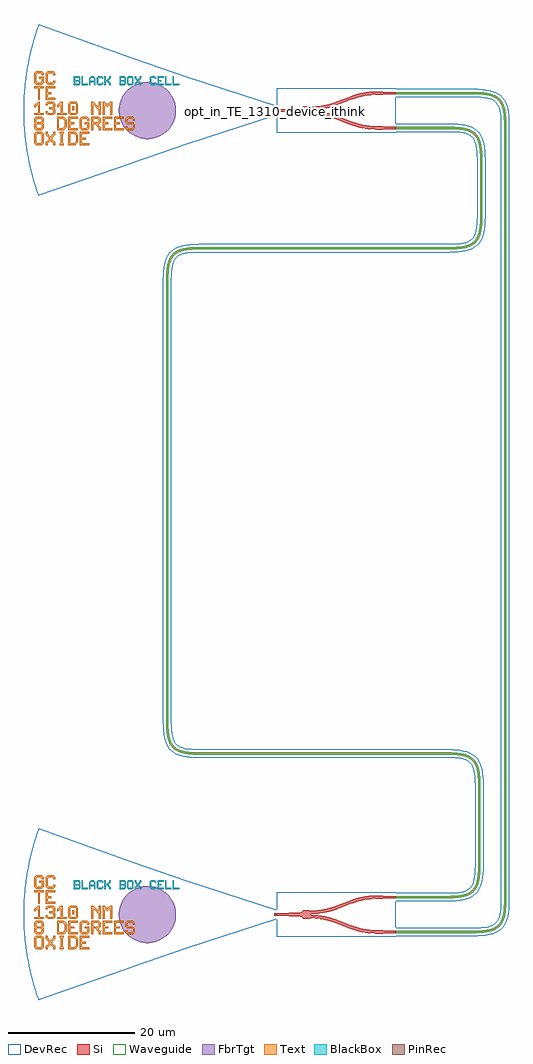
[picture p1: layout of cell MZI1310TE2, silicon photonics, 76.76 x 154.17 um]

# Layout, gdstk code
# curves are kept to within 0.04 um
import gdstk
lib = gdstk.Library(unit=1e-6, precision=1e-09)
def R(c, l, rs):  # rectangles x0, y0, x1, y1
    for r in rs: c.add(gdstk.rectangle(r[:2], r[2:], *l))
def P(c, l, *ps):  # polygons
    for p in ps: c.add(gdstk.Polygon(p, *l))
Si = (1, 0)
PinRec = (1, 10)
Waveguide = (1, 99)
Text = (10, 0)
DevRec = (68, 0)
FbrTgt = (81, 0)
BlackBox = (998, 0)

ebeam_y_1310 = lib.new_cell('ebeam_y_1310')
R(ebeam_y_1310, Si, [(6.5,-3,7.4,-2.5), (-7.4,-0.25,-6,0.25), (6.5,2.5,7.4,3)])
P(ebeam_y_1310, Si, [(6.458,-3),(6.237,-2.997),(6.237,-2.497),(6.5,-2.5),(6.5,-3)],
  [(5.033,-2.908),(3.59,-2.634),(2.265,-2.21),(2.445,-1.744),(3.731,-2.154),(5.033,-2.404)],
  [(6.233,-2.997),(5.033,-2.908),(5.033,-2.404),(6.237,-2.497)],
  [(2.265,-2.21),(0.055,-1.356),(0.235,-0.89),(2.445,-1.744)],
  [(-0.762,-1.076),(-2.334,-0.724),(-4,-0.6),(-4,-0.1),(-2.381,-0.212),(-0.762,-0.555)],
  [(0.055,-1.356),(-0.762,-1.076),(-0.762,-0.555),(0.235,-0.89)],
  [(6.237,2.497),(6.237,2.997),(6.5,3),(6.5,2.5)],
  [(2.445,1.744),(2.267,2.211),(3.59,2.634),(5.033,2.908),(5.033,2.404),(3.731,2.154)],
  [(5.033,2.404),(5.033,2.908),(6.237,2.997),(6.237,2.497)],
  [(0.235,0.89),(0.055,1.356),(2.265,2.21),(2.445,1.744)],
  [(-4,0.1),(-4,0.6),(-2.334,0.724),(-0.762,1.076),(-0.762,0.555),(-2.381,0.212)],
  [(-0.762,0.555),(-0.762,1.076),(0.055,1.356),(0.235,0.89)],
  [(-5.122,-0.662),(-5.442,-0.374),(-5.808,-0.255),(-6,-0.25),(-6,0.25),(-5.817,0.253),(-5.442,0.374),(-5.122,0.662)],
  [(-4.957,-0.703),(-5.122,-0.662),(-5.122,0.662),(-4.538,0.703),(-4,0.6),(-4,-0.6),(-4.509,-0.701)],
  [(-7.4,-0.25),(-9.4,-0.175),(-9.4,0.175),(-7.4,0.25)],
  [(7.4,2.5),(7.4,3),(9.4,2.925),(9.4,2.575)],
  [(7.4,-3),(7.4,-2.5),(9.4,-2.575),(9.4,-2.925)])
R(ebeam_y_1310, DevRec, [(-9.4,-3.5,9.4,3.5)])
ebeam_y_1310.add(gdstk.FlexPath([(9.35,2.75),(9.45,2.75)], 0.35, ends="flush", simple_path=True, layer=1, datatype=10))  # PinRec
ebeam_y_1310.add(gdstk.FlexPath([(9.35,-2.75),(9.45,-2.75)], 0.35, ends="flush", simple_path=True, layer=1, datatype=10))  # PinRec
ebeam_y_1310.add(gdstk.FlexPath([(-9.35,0),(-9.45,0)], 0.35, ends="flush", simple_path=True, layer=1, datatype=10))  # PinRec
ebeam_y_1310.add(gdstk.Label('Ref: Y Zhang, Opt. Express, 21/1, 2013, for 1550 nm\nWorks reasonably well at 1310 nm', (-9.25,-1), layer=10, texttype=0))
ebeam_y_1310.add(gdstk.Label('opt2', (9.4,2.75), layer=1, texttype=10))
ebeam_y_1310.add(gdstk.Label('opt3', (9.4,-2.75), layer=1, texttype=10))
ebeam_y_1310.add(gdstk.Label('opt1', (-9.4,0), layer=1, texttype=10))
ebeam_y_1310.add(gdstk.Label('Lumerical_INTERCONNECT_library=Design kits/ebeam', (-6.86,-2.19), layer=68, texttype=0))
ebeam_y_1310.add(gdstk.Label('Component=ebeam_y_1310', (-9,1.5), layer=68, texttype=0))

text_10 = lib.new_cell('TEXT$10')
P(text_10, BlackBox, [(0,0),(0,1.4),(0.8,1.4),(1,1.2),(0.2,1.2),(0.2,0.8),(0.7,0.8),(0.8,0.9),(0.8,1.1),(0.7,1.2),(1,1.2),(1,0.8),(0.9,0.7),(1,0.6),(0.2,0.6),(0.2,0.2),(0.7,0.2),(0.8,0.3),(0.8,0.5),(0.7,0.6),(1,0.6),(1,0.2),(0.8,0)],
  [(1.2,0),(1.2,1.4),(1.4,1.4),(1.4,0.2),(2.2,0.2),(2.2,0)],
  [(2.4,0),(2.4,1.1),(2.7,1.4),(3.1,1.4),(3.3,1.2),(2.8,1.2),(2.6,1),(2.6,0.7),(3.2,0.7),(3.2,1),(3,1.2),(3.3,1.2),(3.4,1.1),(3.4,0),(3.2,0),(3.2,0.5),(2.6,0.5),(2.6,0)],
  [(3.8,0),(3.6,0.2),(3.6,1.2),(3.8,1.4),(4.4,1.4),(4.6,1.2),(4.6,1),(4.4,1),(4.4,1.1),(4.3,1.2),(3.9,1.2),(3.8,1.1),(3.8,0.3),(3.9,0.2),(4.3,0.2),(4.4,0.3),(4.4,0.4),(4.6,0.4),(4.6,0.2),(4.4,0)],
  [(4.8,0),(4.8,1.4),(5,1.4),(5,0.8),(5.2,0.8),(5.6,1.2),(5.6,1.4),(5.8,1.4),(5.8,1.1),(5.4,0.7),(5.8,0.3),(5.8,0),(5.6,0),(5.6,0.2),(5.2,0.6),(5,0.6),(5,0)],
  [(7.2,0),(7.2,1.4),(8,1.4),(8.2,1.2),(7.4,1.2),(7.4,0.8),(7.9,0.8),(8,0.9),(8,1.1),(7.9,1.2),(8.2,1.2),(8.2,0.8),(8.1,0.7),(8.2,0.6),(7.4,0.6),(7.4,0.2),(7.9,0.2),(8,0.3),(8,0.5),(7.9,0.6),(8.2,0.6),(8.2,0.2),(8,0)],
  [(8.6,0),(8.4,0.2),(8.4,1.2),(8.6,1.4),(9.2,1.4),(9.4,1.2),(9.4,0.7),(9.2,0.7),(9.2,1.1),(9.1,1.2),(8.7,1.2),(8.6,1.1),(8.6,0.3),(8.7,0.2),(9.1,0.2),(9.2,0.3),(9.2,0.7),(9.4,0.7),(9.4,0.2),(9.2,0)],
  [(9.6,0),(9.6,0.3),(9.9,0.6),(9.9,0.8),(9.6,1.1),(9.6,1.4),(9.8,1.4),(9.8,1.2),(10.1,0.9),(10.4,1.2),(10.4,1.4),(10.6,1.4),(10.6,1.1),(10.3,0.8),(10.3,0.6),(10.6,0.3),(10.6,0),(10.4,0),(10.4,0.2),(10.1,0.5),(9.8,0.2),(9.8,0)],
  [(12.2,0),(12,0.2),(12,1.2),(12.2,1.4),(12.8,1.4),(13,1.2),(13,1),(12.8,1),(12.8,1.1),(12.7,1.2),(12.3,1.2),(12.2,1.1),(12.2,0.3),(12.3,0.2),(12.7,0.2),(12.8,0.3),(12.8,0.4),(13,0.4),(13,0.2),(12.8,0)],
  [(13.2,0),(13.2,1.4),(14.2,1.4),(14.2,1.2),(13.4,1.2),(13.4,0.8),(13.8,0.8),(13.8,0.6),(13.4,0.6),(13.4,0.2),(14.2,0.2),(14.2,0)],
  [(14.4,0),(14.4,1.4),(14.6,1.4),(14.6,0.2),(15.4,0.2),(15.4,0)],
  [(15.6,0),(15.6,1.4),(15.8,1.4),(15.8,0.2),(16.6,0.2),(16.6,0)])

gc_te_1310_8degoxide_bb = lib.new_cell('GC_TE_1310_8degOxide_BB')
R(gc_te_1310_8degoxide_bb, Si, [(-0.4,-0.175,0,0.175)])
R(gc_te_1310_8degoxide_bb, Text, [(-32.27,0.06,-31.97,0.66)])
P(gc_te_1310_8degoxide_bb, Text, [(-37.67,1.71),(-37.67,3.51),(-38.27,3.51),(-38.27,3.81),(-36.77,3.81),(-36.77,3.51),(-37.37,3.51),(-37.37,1.71)],
  [(-37.97,-5.49),(-38.27,-5.19),(-38.27,-3.69),(-37.97,-3.39),(-37.07,-3.39),(-36.77,-3.69),(-36.77,-4.44),(-37.07,-4.44),(-37.07,-3.84),(-37.22,-3.69),(-37.82,-3.69),(-37.97,-3.84),(-37.97,-5.04),(-37.82,-5.19),(-37.22,-5.19),(-37.07,-5.04),(-37.07,-4.44),(-36.77,-4.44),(-36.77,-5.19),(-37.07,-5.49)],
  [(-31.07,-5.49),(-31.07,-3.39),(-29.57,-3.39),(-29.57,-3.69),(-30.77,-3.69),(-30.77,-4.29),(-30.17,-4.29),(-30.17,-4.59),(-30.77,-4.59),(-30.77,-5.19),(-29.57,-5.19),(-29.57,-5.49)],
  [(-32.87,-3.09),(-32.87,-0.99),(-31.37,-0.99),(-31.37,-1.29),(-32.57,-1.29),(-32.57,-1.89),(-31.97,-1.89),(-31.97,-2.19),(-32.57,-2.19),(-32.57,-2.79),(-31.37,-2.79),(-31.37,-3.09)],
  [(-27.47,-3.09),(-27.47,-0.99),(-25.97,-0.99),(-25.97,-1.29),(-27.17,-1.29),(-27.17,-1.89),(-26.57,-1.89),(-26.57,-2.19),(-27.17,-2.19),(-27.17,-2.79),(-25.97,-2.79),(-25.97,-3.09)],
  [(-25.67,-3.09),(-25.67,-0.99),(-24.17,-0.99),(-24.17,-1.29),(-25.37,-1.29),(-25.37,-1.89),(-24.77,-1.89),(-24.77,-2.19),(-25.37,-2.19),(-25.37,-2.79),(-24.17,-2.79),(-24.17,-3.09)],
  [(-36.47,1.71),(-36.47,3.81),(-34.97,3.81),(-34.97,3.51),(-36.17,3.51),(-36.17,2.91),(-35.57,2.91),(-35.57,2.61),(-36.17,2.61),(-36.17,2.01),(-34.97,2.01),(-34.97,1.71)],
  [(-27.47,-0.69),(-27.47,1.41),(-27.17,1.41),(-26.87,1.11),(-26.57,1.11),(-26.27,1.41),(-25.97,1.41),(-25.97,-0.69),(-26.27,-0.69),(-26.27,0.81),(-26.42,0.81),(-26.72,0.51),(-27.02,0.81),(-27.17,0.81),(-27.17,-0.69)],
  [(-29.27,-0.69),(-29.27,1.41),(-28.97,1.41),(-28.22,0.66),(-28.07,0.66),(-28.07,1.41),(-27.77,1.41),(-27.77,-0.69),(-28.07,-0.69),(-28.07,0.06),(-28.82,0.81),(-28.97,0.81),(-28.97,-0.69)],
  [(-34.22,-5.49),(-34.22,-5.19),(-34.07,-5.19),(-34.07,-3.69),(-34.22,-3.69),(-34.22,-3.39),(-33.62,-3.39),(-33.62,-3.69),(-33.77,-3.69),(-33.77,-5.19),(-33.62,-5.19),(-33.62,-5.49)],
  [(-36.17,-0.69),(-36.47,-0.39),(-36.47,-0.09),(-36.17,-0.09),(-36.17,-0.24),(-36.02,-0.39),(-35.42,-0.39),(-35.27,-0.24),(-35.27,0.06),(-35.42,0.21),(-35.87,0.21),(-35.87,0.51),(-35.42,0.51),(-35.27,0.66),(-35.27,0.96),(-35.42,1.11),(-36.02,1.11),(-36.17,0.96),(-36.17,0.81),(-36.47,0.81),(-36.47,1.11),(-36.17,1.41),(-35.27,1.41),(-34.97,1.11),(-34.97,0.51),(-35.12,0.36),(-34.97,0.21),(-34.97,-0.39),(-35.27,-0.69)],
  [(-29.27,-3.09),(-29.27,-0.99),(-28.07,-0.99),(-27.77,-1.29),(-28.97,-1.29),(-28.97,-1.89),(-28.22,-1.89),(-28.07,-1.74),(-28.07,-1.44),(-28.22,-1.29),(-27.77,-1.29),(-27.77,-1.89),(-28.07,-2.19),(-28.07,-2.34),(-27.77,-2.64),(-27.77,-3.09),(-28.07,-3.09),(-28.07,-2.79),(-28.67,-2.19),(-28.97,-2.19),(-28.97,-3.09)],
  [(-30.77,-3.09),(-31.07,-2.79),(-31.07,-1.29),(-30.77,-0.99),(-29.87,-0.99),(-29.57,-1.29),(-29.57,-1.59),(-29.87,-1.59),(-29.87,-1.44),(-30.02,-1.29),(-30.62,-1.29),(-30.77,-1.44),(-30.77,-2.64),(-30.62,-2.79),(-30.02,-2.79),(-29.87,-2.64),(-29.87,-2.19),(-30.32,-2.19),(-30.32,-1.89),(-29.57,-1.89),(-29.57,-2.79),(-29.87,-3.09)],
  [(-37.97,4.11),(-38.27,4.41),(-38.27,5.91),(-37.97,6.21),(-37.07,6.21),(-36.77,5.91),(-36.77,5.61),(-37.07,5.61),(-37.07,5.76),(-37.22,5.91),(-37.82,5.91),(-37.97,5.76),(-37.97,4.56),(-37.82,4.41),(-37.22,4.41),(-37.07,4.56),(-37.07,5.01),(-37.52,5.01),(-37.52,5.31),(-36.77,5.31),(-36.77,4.41),(-37.07,4.11)],
  [(-32.57,-0.69),(-32.87,-0.39),(-32.87,1.11),(-32.57,1.41),(-31.67,1.41),(-31.37,1.11),(-32.42,1.11),(-32.57,0.96),(-32.57,-0.24),(-32.42,-0.39),(-31.82,-0.39),(-31.67,-0.24),(-31.67,0.96),(-31.82,1.11),(-31.37,1.11),(-31.37,-0.39),(-31.67,-0.69)],
  [(-32.87,-5.49),(-32.87,-3.39),(-31.82,-3.39),(-31.52,-3.69),(-32.57,-3.69),(-32.57,-5.19),(-31.97,-5.19),(-31.67,-4.89),(-31.67,-3.99),(-31.97,-3.69),(-31.52,-3.69),(-31.37,-3.84),(-31.37,-5.04),(-31.82,-5.49)],
  [(-34.67,-3.09),(-34.67,-0.99),(-33.62,-0.99),(-33.32,-1.29),(-34.37,-1.29),(-34.37,-2.79),(-33.77,-2.79),(-33.47,-2.49),(-33.47,-1.59),(-33.77,-1.29),(-33.32,-1.29),(-33.17,-1.44),(-33.17,-2.64),(-33.62,-3.09)],
  [(-23.57,-3.09),(-23.87,-2.79),(-23.87,-2.49),(-23.57,-2.49),(-23.57,-2.64),(-23.42,-2.79),(-22.82,-2.79),(-22.67,-2.64),(-22.67,-2.34),(-22.82,-2.19),(-23.57,-2.19),(-23.87,-1.89),(-23.87,-1.29),(-23.57,-0.99),(-22.67,-0.99),(-22.37,-1.29),(-22.37,-1.59),(-22.67,-1.59),(-22.67,-1.44),(-22.82,-1.29),(-23.42,-1.29),(-23.57,-1.44),(-23.57,-1.74),(-23.42,-1.89),(-22.67,-1.89),(-22.37,-2.19),(-22.37,-2.79),(-22.67,-3.09)],
  [(-37.97,-3.09),(-38.27,-2.79),(-38.27,-2.19),(-38.12,-2.04),(-38.27,-1.89),(-38.27,-1.29),(-37.97,-0.99),(-37.07,-0.99),(-36.77,-1.29),(-37.82,-1.29),(-37.97,-1.44),(-37.97,-1.74),(-37.82,-1.89),(-37.22,-1.89),(-37.07,-1.74),(-37.07,-1.44),(-37.22,-1.29),(-36.77,-1.29),(-36.77,-1.89),(-36.92,-2.04),(-36.77,-2.19),(-37.82,-2.19),(-37.97,-2.34),(-37.97,-2.64),(-37.82,-2.79),(-37.22,-2.79),(-37.07,-2.64),(-37.07,-2.34),(-37.22,-2.19),(-36.77,-2.19),(-36.77,-2.79),(-37.07,-3.09)],
  [(-38.27,-0.69),(-38.27,-0.39),(-37.67,-0.39),(-37.67,0.81),(-37.82,0.81),(-38.12,0.51),(-38.27,0.51),(-38.27,0.81),(-37.67,1.41),(-37.37,1.41),(-37.37,-0.39),(-36.77,-0.39),(-36.77,-0.69)],
  [(-34.67,-0.69),(-34.67,-0.39),(-34.07,-0.39),(-34.07,0.81),(-34.22,0.81),(-34.52,0.51),(-34.67,0.51),(-34.67,0.81),(-34.07,1.41),(-33.77,1.41),(-33.77,-0.39),(-33.17,-0.39),(-33.17,-0.69)],
  [(-36.47,-5.49),(-36.47,-5.04),(-36.02,-4.59),(-36.02,-4.29),(-36.47,-3.84),(-36.47,-3.39),(-36.17,-3.39),(-36.17,-3.69),(-35.72,-4.14),(-35.27,-3.69),(-35.27,-3.39),(-34.97,-3.39),(-34.97,-3.84),(-35.42,-4.29),(-35.42,-4.59),(-34.97,-5.04),(-34.97,-5.49),(-35.27,-5.49),(-35.27,-5.19),(-35.72,-4.74),(-36.17,-5.19),(-36.17,-5.49)],
  [(-36.17,4.11),(-36.47,4.41),(-36.47,5.91),(-36.17,6.21),(-35.27,6.21),(-34.97,5.91),(-34.97,5.61),(-35.27,5.61),(-35.27,5.76),(-35.42,5.91),(-36.02,5.91),(-36.17,5.76),(-36.17,4.56),(-36.02,4.41),(-35.42,4.41),(-35.27,4.56),(-35.27,4.71),(-34.97,4.71),(-34.97,4.41),(-35.27,4.11)])
P(gc_te_1310_8degoxide_bb, DevRec, [(-37.607,-13.5),(-38.627,-10.245),(-39.378,-6.832),(-39.647,-5.058),(-39.835,-3.274),(-39.969,0.224),(-39.812,3.541),(-39.331,7.097),(-38.557,10.505),(-37.546,13.669),(-22.8,8.353),(-14.109,5.36),(0,0.75),(0,-0.75),(-14.109,-5.36)])
P(gc_te_1310_8degoxide_bb, FbrTgt, [(-20.621,-4.5),(-21.495,-4.37),(-22.326,-4.073),(-23.084,-3.619),(-23.738,-3.026),(-24.264,-2.316),(-24.642,-1.518),(-24.857,-0.661),(-24.9,0.221),(-24.77,1.095),(-24.473,1.926),(-24.019,2.684),(-23.426,3.338),(-22.716,3.864),(-21.918,4.242),(-21.061,4.457),(-20.179,4.5),(-19.305,4.37),(-18.474,4.073),(-17.716,3.619),(-17.062,3.026),(-16.536,2.316),(-16.158,1.518),(-15.943,0.661),(-15.9,-0.221),(-16.03,-1.095),(-16.327,-1.926),(-16.781,-2.684),(-17.374,-3.338),(-18.084,-3.864),(-18.882,-4.242),(-19.739,-4.457)])
gc_te_1310_8degoxide_bb.add(gdstk.FlexPath([(-0.01,0),(0.01,0)], 0.35, ends="flush", simple_path=True, layer=1, datatype=10))  # PinRec
gc_te_1310_8degoxide_bb.add(gdstk.Reference(text_10, (-32,4)))
gc_te_1310_8degoxide_bb.add(gdstk.Label('opt1', (0,0), layer=1, texttype=10))
gc_te_1310_8degoxide_bb.add(gdstk.Label('Lumerical_INTERCONNECT_library=Design kits/ebeam', (-29,-7), layer=68, texttype=0))
gc_te_1310_8degoxide_bb.add(gdstk.Label('Component=GC_TE_1310_8degOxide_BB', (-28,-5), layer=68, texttype=0))

waveguide_4 = lib.new_cell('Waveguide$4')
P(waveguide_4, Si, [(5.07,-3.105),(5.07,-2.755),(17.608,-2.753),(18.783,-2.701),(19.748,-2.557),(20.28,-2.405),(20.73,-2.205),(21.105,-1.953),(21.414,-1.644),(21.666,-1.269),(21.866,-0.819),(22.018,-0.287),(22.144,0.503),(22.215,2.07),(22.215,124.57),(22.123,126.308),(22.017,126.928),(21.82,127.58),(21.606,128.01),(21.341,128.367),(20.924,128.727),(20.514,128.952),(19.447,129.257),(18.601,129.356),(17.607,129.394),(5.07,129.395),(5.07,129.745),(17.611,129.744),(18.995,129.672),(19.974,129.504),(20.656,129.272),(21.225,128.943),(21.683,128.507),(22.033,127.96),(22.323,127.155),(22.471,126.352),(22.555,125.216),(22.565,2.07),(22.492,0.465),(22.36,-0.363),(22.196,-0.937),(21.972,-1.437),(21.684,-1.866),(21.327,-2.223),(20.898,-2.511),(20.398,-2.735),(19.668,-2.931),(18.628,-3.065),(17.612,-3.103)])
P(waveguide_4, Waveguide, [(5.07,-3.105),(5.07,-2.755),(17.608,-2.753),(18.783,-2.701),(19.748,-2.557),(20.28,-2.405),(20.73,-2.205),(21.105,-1.953),(21.414,-1.644),(21.666,-1.269),(21.866,-0.819),(22.018,-0.287),(22.144,0.503),(22.215,2.07),(22.215,124.57),(22.123,126.308),(22.017,126.928),(21.82,127.58),(21.606,128.01),(21.341,128.367),(20.924,128.727),(20.514,128.952),(19.447,129.257),(18.601,129.356),(17.607,129.394),(5.07,129.395),(5.07,129.745),(17.611,129.744),(18.995,129.672),(19.974,129.504),(20.656,129.272),(21.225,128.943),(21.683,128.507),(22.033,127.96),(22.323,127.155),(22.471,126.352),(22.555,125.216),(22.565,2.07),(22.492,0.465),(22.36,-0.363),(22.196,-0.937),(21.972,-1.437),(21.684,-1.866),(21.327,-2.223),(20.898,-2.511),(20.398,-2.735),(19.668,-2.931),(18.628,-3.065),(17.612,-3.103)])
P(waveguide_4, DevRec, [(5.07,-3.605),(5.07,-2.255),(18.042,-2.244),(19.146,-2.156),(19.989,-1.975),(20.588,-1.708),(20.815,-1.544),(21.169,-1.127),(21.436,-0.528),(21.538,-0.138),(21.673,0.834),(21.715,2.07),(21.715,124.57),(21.616,126.326),(21.435,127.169),(21.312,127.497),(21.004,127.995),(20.814,128.185),(20.316,128.493),(19.145,128.797),(17.389,128.895),(5.07,128.895),(5.07,130.245),(17.391,130.245),(18.734,130.199),(19.884,130.038),(20.868,129.725),(21.69,129.211),(22.03,128.871),(22.314,128.482),(22.723,127.575),(22.954,126.512),(23.054,125.27),(23.065,2.07),(23.019,0.726),(22.858,-0.424),(22.724,-0.934),(22.315,-1.841),(22.031,-2.23),(21.302,-2.854),(20.869,-3.084),(19.885,-3.397),(18.735,-3.558),(17.391,-3.605)])
waveguide_4.add(gdstk.FlexPath([(5.08,129.57),(5.06,129.57)], 0.35, ends="flush", simple_path=True, layer=1, datatype=10))  # PinRec
waveguide_4.add(gdstk.FlexPath([(5.08,-2.93),(5.06,-2.93)], 0.35, ends="flush", simple_path=True, layer=1, datatype=10))  # PinRec
waveguide_4.add(gdstk.Label('opt1', (5.07,129.57), layer=1, texttype=10))
waveguide_4.add(gdstk.Label('opt2', (5.07,-2.93), layer=1, texttype=10))
waveguide_4.add(gdstk.Label('Lumerical_INTERCONNECT_library=Design kits/EBeam', (5.07,129.5), layer=68, texttype=0))
waveguide_4.add(gdstk.Label('Component=ebeam_wg_integral_1310', (5.07,129.64), layer=68, texttype=0))
waveguide_4.add(gdstk.Label('cellName=Waveguide', (5.07,129.71), layer=68, texttype=0))
waveguide_4.add(gdstk.Label('Spice_param:wg_length=0.000164047 wg_width=3.5e-07 points="[[5.07,129.57],[22.39,129.57],[22.39,-2.93],[5.07,-2.93]]" radius=5e-06', (5.07,129.57), layer=68, texttype=0))
waveguide_4.add(gdstk.Label('Length=164.047 (microns)', (5.07,129.15), layer=68, texttype=0))
waveguide_4.add(gdstk.Label('waveguide_type=Strip TE 1310 nm, w=350 nm', (5.07,129.43), layer=68, texttype=0))

waveguide_24 = lib.new_cell('Waveguide$24')
P(waveguide_24, Si, [(5.07,2.395),(5.07,2.745),(13.518,2.747),(15.201,2.859),(15.934,3.013),(16.64,3.295),(17.176,3.694),(17.576,4.231),(17.776,4.681),(17.958,5.359),(18.116,6.937),(18.115,20.884),(18.011,22.151),(17.775,23.14),(17.39,23.878),(16.834,24.407),(16.309,24.681),(15.657,24.878),(14.692,25.022),(13.729,25.071),(-27.046,25.103),(-28.434,25.281),(-29.008,25.445),(-29.508,25.669),(-29.937,25.957),(-30.294,26.314),(-30.582,26.743),(-30.806,27.243),(-31.082,28.469),(-31.175,30.25),(-31.175,100.07),(-31.135,101.308),(-31.03,102.188),(-30.851,102.941),(-30.581,103.578),(-30.211,104.103),(-29.73,104.517),(-29.139,104.825),(-28.433,105.04),(-27.424,105.19),(-26,105.245),(13.828,105.247),(14.822,105.285),(15.668,105.384),(16.244,105.513),(16.844,105.741),(17.486,106.194),(17.767,106.536),(17.992,106.946),(18.268,107.859),(18.408,109.045),(18.417,119.903),(18.237,121.428),(18.04,122.08),(17.766,122.605),(17.324,123.094),(16.734,123.452),(15.967,123.698),(15.002,123.842),(13.827,123.894),(5.07,123.895),(5.07,124.245),(14.847,124.206),(15.727,124.101),(16.48,123.922),(17.117,123.652),(17.642,123.282),(17.982,122.906),(18.311,122.337),(18.543,121.655),(18.691,120.852),(18.785,119.07),(18.784,109.849),(18.712,108.465),(18.544,107.486),(18.192,106.563),(17.983,106.235),(17.643,105.859),(17,105.427),(16.481,105.219),(15.728,105.04),(14.848,104.935),(13.832,104.897),(-26,104.895),(-27.392,104.842),(-28.211,104.728),(-28.889,104.546),(-29.439,104.287),(-29.876,103.946),(-30.216,103.51),(-30.475,102.96),(-30.657,102.282),(-30.771,101.463),(-30.825,100.07),(-30.825,30.25),(-30.734,28.513),(-30.476,27.361),(-30.276,26.911),(-30.024,26.536),(-29.715,26.227),(-29.34,25.975),(-28.89,25.775),(-28.358,25.623),(-27.026,25.453),(13.735,25.421),(14.905,25.352),(15.733,25.22),(16.439,25.005),(17.03,24.697),(17.593,24.187),(17.816,23.872),(18.054,23.39),(18.33,22.368),(18.457,21.099),(18.466,6.925),(18.302,5.293),(18.106,4.563),(17.882,4.063),(17.424,3.446),(16.808,2.989),(16.03,2.677),(15.082,2.489),(13.522,2.397)])
P(waveguide_24, Waveguide, [(5.07,2.395),(5.07,2.745),(13.518,2.747),(15.201,2.859),(15.934,3.013),(16.64,3.295),(17.176,3.694),(17.576,4.231),(17.776,4.681),(17.958,5.359),(18.116,6.937),(18.115,20.884),(18.011,22.151),(17.775,23.14),(17.39,23.878),(16.834,24.407),(16.309,24.681),(15.657,24.878),(14.692,25.022),(13.729,25.071),(-27.046,25.103),(-28.434,25.281),(-29.008,25.445),(-29.508,25.669),(-29.937,25.957),(-30.294,26.314),(-30.582,26.743),(-30.806,27.243),(-31.082,28.469),(-31.175,30.25),(-31.175,100.07),(-31.135,101.308),(-31.03,102.188),(-30.851,102.941),(-30.581,103.578),(-30.211,104.103),(-29.73,104.517),(-29.139,104.825),(-28.433,105.04),(-27.424,105.19),(-26,105.245),(13.828,105.247),(14.822,105.285),(15.668,105.384),(16.244,105.513),(16.844,105.741),(17.486,106.194),(17.767,106.536),(17.992,106.946),(18.268,107.859),(18.408,109.045),(18.417,119.903),(18.237,121.428),(18.04,122.08),(17.766,122.605),(17.324,123.094),(16.734,123.452),(15.967,123.698),(15.002,123.842),(13.827,123.894),(5.07,123.895),(5.07,124.245),(14.847,124.206),(15.727,124.101),(16.48,123.922),(17.117,123.652),(17.642,123.282),(17.982,122.906),(18.311,122.337),(18.543,121.655),(18.691,120.852),(18.785,119.07),(18.784,109.849),(18.712,108.465),(18.544,107.486),(18.192,106.563),(17.983,106.235),(17.643,105.859),(17,105.427),(16.481,105.219),(15.728,105.04),(14.848,104.935),(13.832,104.897),(-26,104.895),(-27.392,104.842),(-28.211,104.728),(-28.889,104.546),(-29.439,104.287),(-29.876,103.946),(-30.216,103.51),(-30.475,102.96),(-30.657,102.282),(-30.771,101.463),(-30.825,100.07),(-30.825,30.25),(-30.734,28.513),(-30.476,27.361),(-30.276,26.911),(-30.024,26.536),(-29.715,26.227),(-29.34,25.975),(-28.89,25.775),(-28.358,25.623),(-27.026,25.453),(13.735,25.421),(14.905,25.352),(15.733,25.22),(16.439,25.005),(17.03,24.697),(17.593,24.187),(17.816,23.872),(18.054,23.39),(18.33,22.368),(18.457,21.099),(18.466,6.925),(18.302,5.293),(18.106,4.563),(17.882,4.063),(17.424,3.446),(16.808,2.989),(16.03,2.677),(15.082,2.489),(13.522,2.397)])
P(waveguide_24, DevRec, [(5.07,1.895),(5.07,3.245),(13.299,3.245),(15.056,3.344),(15.899,3.525),(16.498,3.792),(16.915,4.146),(17.223,4.644),(17.527,5.815),(17.615,6.918),(17.614,20.902),(17.526,22.006),(17.345,22.849),(17.078,23.448),(16.914,23.675),(16.497,24.029),(15.898,24.296),(15.055,24.477),(13.3,24.575),(-26,24.575),(-27.345,24.622),(-28.495,24.783),(-29.005,24.917),(-29.912,25.326),(-30.641,25.95),(-30.925,26.339),(-31.334,27.246),(-31.565,28.309),(-31.675,30.25),(-31.675,100.07),(-31.628,101.415),(-31.467,102.565),(-31.333,103.075),(-30.924,103.982),(-30.64,104.371),(-30.3,104.711),(-29.478,105.225),(-28.494,105.538),(-27.344,105.699),(-26,105.745),(13.61,105.745),(15.366,105.844),(16.537,106.148),(17.035,106.456),(17.225,106.646),(17.533,107.144),(17.837,108.315),(17.925,109.418),(17.924,119.722),(17.757,121.279),(17.655,121.669),(17.388,122.268),(17.034,122.685),(16.536,122.993),(15.818,123.218),(14.846,123.353),(5.07,123.395),(5.07,124.745),(14.954,124.699),(16.104,124.538),(16.614,124.404),(17.521,123.995),(17.91,123.711),(18.25,123.371),(18.764,122.549),(18.943,122.075),(19.174,121.012),(19.285,119.071),(19.285,110.069),(19.175,108.129),(18.944,107.066),(18.535,106.159),(17.911,105.43),(17.089,104.916),(16.615,104.737),(15.552,104.506),(13.61,104.395),(-26,104.395),(-27.236,104.353),(-28.598,104.116),(-28.926,103.993),(-29.424,103.685),(-29.778,103.268),(-30.045,102.669),(-30.282,101.307),(-30.325,100.07),(-30.325,30.25),(-30.283,29.014),(-30.046,27.652),(-29.779,27.053),(-29.615,26.826),(-29.198,26.472),(-28.599,26.205),(-28.209,26.103),(-27.237,25.968),(-26,25.925),(13.998,25.915),(15.241,25.815),(16.304,25.584),(17.211,25.175),(17.6,24.891),(18.224,24.162),(18.633,23.255),(18.864,22.192),(18.964,20.95),(18.965,6.872),(18.768,5.076),(18.455,4.092),(18.225,3.659),(17.941,3.27),(17.212,2.646),(16.305,2.237),(15.242,2.006),(13.301,1.895)])
waveguide_24.add(gdstk.FlexPath([(5.08,124.07),(5.06,124.07)], 0.35, ends="flush", simple_path=True, layer=1, datatype=10))  # PinRec
waveguide_24.add(gdstk.FlexPath([(5.08,2.57),(5.06,2.57)], 0.35, ends="flush", simple_path=True, layer=1, datatype=10))  # PinRec
waveguide_24.add(gdstk.Label('opt1', (5.07,124.07), layer=1, texttype=10))
waveguide_24.add(gdstk.Label('opt2', (5.07,2.57), layer=1, texttype=10))
waveguide_24.add(gdstk.Label('Lumerical_INTERCONNECT_library=Design kits/EBeam', (5.07,124), layer=68, texttype=0))
waveguide_24.add(gdstk.Label('Component=ebeam_wg_integral_1310', (5.07,124.14), layer=68, texttype=0))
waveguide_24.add(gdstk.Label('cellName=Waveguide', (5.07,124.21), layer=68, texttype=0))
waveguide_24.add(gdstk.Label('Spice_param:wg_length=0.000237902 wg_width=3.5e-07 points="[[5.07,124.07],[18.61,124.07],[18.61,105.07],[-31.0,105.07],[-31.0,25.25],[18.3,25.25],[18.3,2.57],[5.07,2.57]]" radius=5e-06', (5.07,124.07), layer=68, texttype=0))
waveguide_24.add(gdstk.Label('Length=237.902 (microns)', (5.07,123.65), layer=68, texttype=0))
waveguide_24.add(gdstk.Label('waveguide_type=Strip TE 1310 nm, w=350 nm', (5.07,123.93), layer=68, texttype=0))

mzi1310te2 = lib.new_cell('MZI1310TE2')
mzi1310te2.add(gdstk.Reference(ebeam_y_1310, (-4.33,126.82)))
mzi1310te2.add(gdstk.Reference(ebeam_y_1310, (-4.33,-0.18)))
mzi1310te2.add(gdstk.Reference(gc_te_1310_8degoxide_bb, (-13.73,-0.18)))
mzi1310te2.add(gdstk.Reference(waveguide_4, (0,0)))
mzi1310te2.add(gdstk.Reference(waveguide_24, (0,0)))
mzi1310te2.add(gdstk.Reference(gc_te_1310_8degoxide_bb, (-13.73,126.82)))
mzi1310te2.add(gdstk.Label('opt_in_TE_1310_device_ithinkiamsudipta_circuit2_MZI1310TE2', (-13.87,126.74), layer=10, texttype=0))

lib.write_gds('MZI1310TE2.gds')
